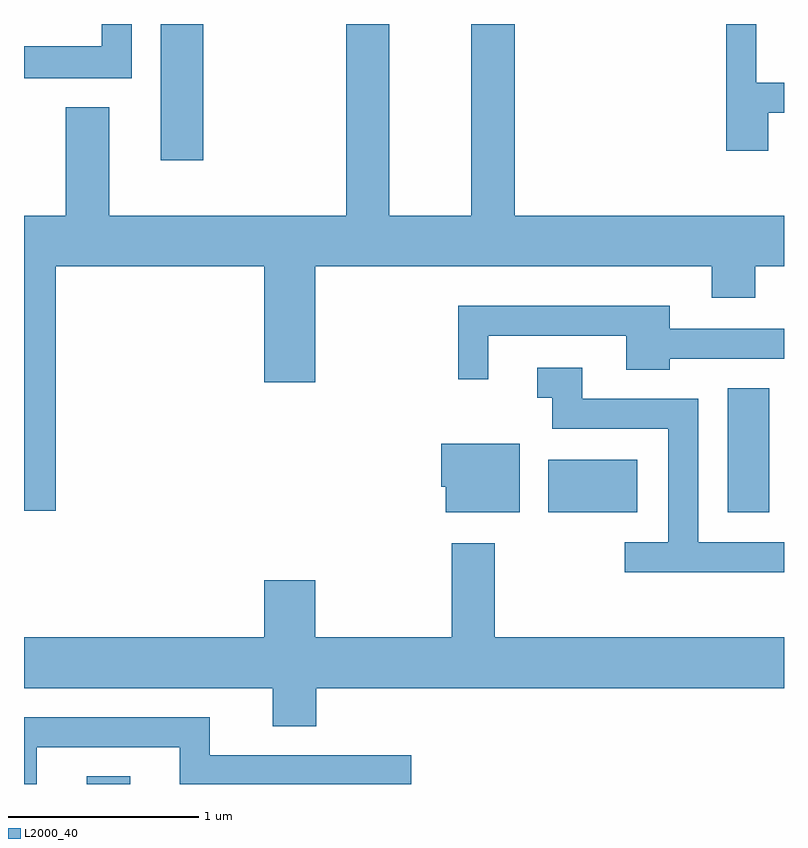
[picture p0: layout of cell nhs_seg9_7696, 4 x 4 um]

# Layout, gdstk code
import gdstk
lib = gdstk.Library(unit=1e-6, precision=1e-09)
def R(c, l, rs):  # rectangles x0, y0, x1, y1
    for r in rs: c.add(gdstk.rectangle(r[:2], r[2:], *l))
def P(c, l, *ps):  # polygons
    for p in ps: c.add(gdstk.Polygon(p, *l))
L2000_40 = (2000, 40)

nhs_seg9_7696 = lib.new_cell('nhs_seg9_7696')
R(nhs_seg9_7696, L2000_40, [(413.941,1982.432,414.169,1982.474), (416.371,1983.861,416.839,1984.139), (417.316,1983.861,417.534,1984.514), (414.331,1985.716,414.554,1986.432)])
P(nhs_seg9_7696, L2000_40, [(413.779,1985.156),(414.876,1985.156),(414.876,1984.546),(415.144,1984.546),(415.144,1985.156),(417.231,1985.156),(417.231,1984.991),(417.459,1984.991),(417.459,1985.156),(417.611,1985.156),(417.611,1985.424),(416.194,1985.424),(416.194,1986.432),(415.966,1986.432),(415.966,1985.424),(415.534,1985.424),(415.534,1986.432),(415.306,1986.432),(415.306,1985.424),(414.059,1985.424),(414.059,1985.994),(413.831,1985.994),(413.831,1985.424),(413.611,1985.424),(413.611,1983.871),(413.779,1983.871)],
  [(417.529,1985.966),(417.611,1985.966),(417.611,1986.124),(417.464,1986.124),(417.464,1986.432),(417.306,1986.432),(417.306,1985.766),(417.529,1985.766)],
  [(414.179,1986.432),(414.021,1986.432),(414.021,1986.314),(413.611,1986.314),(413.611,1986.146),(414.179,1986.146)],
  [(416.054,1984.791),(416.781,1984.791),(416.781,1984.611),(417.009,1984.611),(417.009,1984.671),(417.611,1984.671),(417.611,1984.829),(417.009,1984.829),(417.009,1984.949),(415.896,1984.949),(415.896,1984.563),(416.054,1984.563)],
  [(417.611,1983.704),(417.159,1983.704),(417.159,1984.459),(416.549,1984.459),(416.549,1984.624),(416.313,1984.624),(416.313,1984.466),(416.391,1984.466),(416.391,1984.301),(417.001,1984.301),(417.001,1983.704),(416.773,1983.704),(416.773,1983.546),(417.611,1983.546)],
  [(416.219,1984.224),(415.806,1984.224),(415.806,1983.996),(415.831,1983.996),(415.831,1983.861),(416.219,1983.861)],
  [(415.149,1982.936),(417.611,1982.936),(417.611,1983.204),(416.089,1983.204),(416.089,1983.699),(415.861,1983.699),(415.861,1983.204),(415.144,1983.204),(415.144,1983.504),(414.876,1983.504),(414.876,1983.204),(413.611,1983.204),(413.611,1982.936),(414.921,1982.936),(414.921,1982.736),(415.149,1982.736)],
  [(413.679,1982.626),(414.431,1982.626),(414.431,1982.432),(415.648,1982.432),(415.648,1982.584),(414.589,1982.584),(414.589,1982.784),(413.611,1982.784),(413.611,1982.432),(413.679,1982.432)])

lib.write_gds('nhs_seg9_7696.gds')
